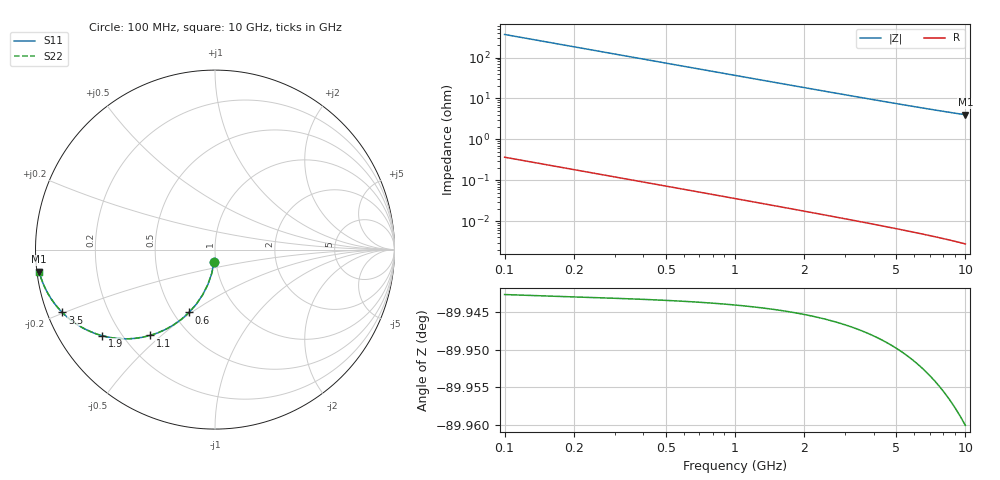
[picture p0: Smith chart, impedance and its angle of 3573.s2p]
# Hz S RI R 50.00
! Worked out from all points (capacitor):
!   100 points, 100 MHz to 10 GHz, reference 50 ohm
!   read as one part in shunt: C = 4.35 pF near 100 MHz
!   lowest |Z| = 3.99 ohm at 10 GHz (marker M1)
!   S11 on the Smith chart (normalised r, x): 100 MHz: 0.98, -0.13; 600 MHz: 0.60, -0.49; 1.1 GHz: 0.31, -0.46; 1.9 GHz: 0.13, -0.33; 3.5 GHz: 0.04, -0.20; 10 GHz: 0.01, -0.06
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1e8  -0.00468 -0.0679  0.9952 -0.0682  0.9952 -0.0682  -0.00468 -0.0679
2e8  -0.0185 -0.1339  0.9815 -0.1345  0.9815 -0.1345  -0.0185 -0.1339
3e8  -0.0405 -0.1963  0.9594 -0.1973  0.9594 -0.1973  -0.0405 -0.1963
4e8  -0.0698 -0.2537  0.9301 -0.255  0.9301 -0.255  -0.0698 -0.2537
5e8  -0.1049 -0.3052  0.895 -0.3067  0.895 -0.3067  -0.1049 -0.3052
6e8  -0.1443 -0.35  0.8556 -0.3519  0.8556 -0.3519  -0.1443 -0.35
8e8  -0.2305 -0.4194  0.7694 -0.4219  0.7694 -0.4219  -0.2305 -0.4194
9e8  -0.2748 -0.4445  0.7251 -0.4473  0.7251 -0.4473  -0.2748 -0.4445
1.1e9  -0.3613 -0.4782  0.6386 -0.4816  0.6386 -0.4816  -0.3613 -0.4782
1.4e9  -0.478 -0.4968  0.5219 -0.5012  0.5219 -0.5012  -0.478 -0.4968
1.8e9  -0.602 -0.4862  0.3979 -0.4918  0.3979 -0.4918  -0.602 -0.4862
1.9e9  -0.6276 -0.48  0.3723 -0.4859  0.3723 -0.4859  -0.6276 -0.48
2.2e9  -0.6931 -0.4572  0.3068 -0.4641  0.3068 -0.4641  -0.6931 -0.4572
2.6e9  -0.7592 -0.4229  0.2407 -0.4311  0.2407 -0.4311  -0.7592 -0.4229
3e9  -0.8076 -0.3889  0.1923 -0.3984  0.1923 -0.3984  -0.8076 -0.3889
3.4e9  -0.8435 -0.3573  0.1563 -0.3681  0.1563 -0.3681  -0.8435 -0.3573
3.5e9  -0.851 -0.3499  0.1488 -0.361  0.1488 -0.361  -0.851 -0.3499
4.2e9  -0.8917 -0.3035  0.1081 -0.3168  0.1081 -0.3168  -0.8917 -0.3035
5.1e9  -0.924 -0.2561  0.0758 -0.2725  0.0758 -0.2725  -0.924 -0.2561
6.7e9  -0.9548 -0.196  0.0449 -0.2178  0.0449 -0.2178  -0.9548 -0.196
8.4e9  -0.971 -0.1527  0.0285 -0.1805  0.0285 -0.1805  -0.971 -0.1527
1e10  -0.9795 -0.1231  0.0198 -0.1567  0.0198 -0.1567  -0.9795 -0.1231
